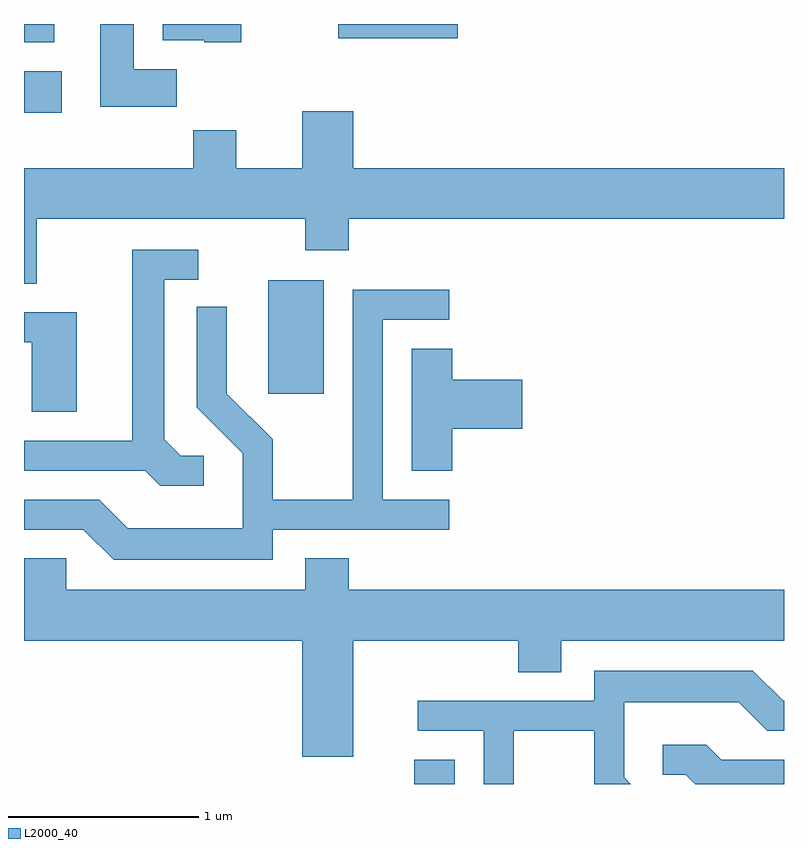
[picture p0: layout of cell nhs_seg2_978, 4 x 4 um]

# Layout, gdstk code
import gdstk
lib = gdstk.Library(unit=1e-6, precision=1e-09)
def R(c, l, rs):  # rectangles x0, y0, x1, y1
    for r in rs: c.add(gdstk.rectangle(r[:2], r[2:], *l))
def P(c, l, *ps):  # polygons
    for p in ps: c.add(gdstk.Polygon(p, *l))
L2000_40 = (2000, 40)

nhs_seg2_978 = lib.new_cell('nhs_seg2_978')
R(nhs_seg2_978, L2000_40, [(215.666,1029.802,215.879,1029.929), (214.896,1031.856,215.189,1032.454), (213.611,1033.336,213.809,1033.554), (213.611,1033.706,213.769,1033.802), (215.266,1033.726,215.894,1033.802)])
P(nhs_seg2_978, L2000_40, [(214.414,1033.564),(214.189,1033.564),(214.189,1033.802),(214.011,1033.802),(214.011,1033.366),(214.414,1033.366)],
  [(214.754,1033.802),(214.341,1033.802),(214.341,1033.716),(214.56,1033.716),(214.56,1033.706),(214.754,1033.706)],
  [(215.076,1033.344),(215.076,1033.044),(214.729,1033.044),(214.729,1033.244),(214.501,1033.244),(214.501,1033.044),(213.611,1033.044),(213.611,1032.436),(213.679,1032.436),(213.679,1032.776),(215.091,1032.776),(215.091,1032.611),(215.319,1032.611),(215.319,1032.776),(217.611,1032.776),(217.611,1033.044),(215.344,1033.044),(215.344,1033.344)],
  [(214.558,1031.529),(214.437,1031.529),(214.349,1031.617),(214.349,1032.456),(214.528,1032.456),(214.528,1032.614),(214.181,1032.614),(214.181,1031.609),(213.611,1031.609),(213.611,1031.451),(214.249,1031.451),(214.329,1031.371),(214.558,1031.371)],
  [(214.919,1031.141),(215.848,1031.141),(215.848,1031.299),(215.499,1031.299),(215.499,1032.246),(215.848,1032.246),(215.848,1032.404),(215.341,1032.404),(215.341,1031.299),(214.919,1031.299),(214.919,1031.617),(214.679,1031.857),(214.679,1032.313),(214.521,1032.313),(214.521,1031.784),(214.761,1031.544),(214.761,1031.149),(214.157,1031.149),(214.007,1031.299),(213.611,1031.299),(213.611,1031.141),(213.924,1031.141),(214.084,1030.981),(214.919,1030.981)],
  [(213.889,1032.284),(213.611,1032.284),(213.611,1032.126),(213.651,1032.126),(213.651,1031.761),(213.889,1031.761)],
  [(215.864,1031.671),(216.234,1031.671),(216.234,1031.929),(215.864,1031.929),(215.864,1032.094),(215.651,1032.094),(215.651,1031.451),(215.864,1031.451)],
  [(215.344,1030.556),(216.211,1030.556),(216.211,1030.391),(216.439,1030.391),(216.439,1030.556),(217.611,1030.556),(217.611,1030.824),(215.319,1030.824),(215.319,1030.989),(215.091,1030.989),(215.091,1030.824),(213.834,1030.824),(213.834,1030.989),(213.611,1030.989),(213.611,1030.556),(215.076,1030.556),(215.076,1029.946),(215.344,1029.946)],
  [(216.189,1030.081),(216.611,1030.081),(216.611,1029.802),(216.804,1029.802),(216.769,1029.837),(216.769,1030.231),(217.374,1030.231),(217.524,1030.081),(217.611,1030.081),(217.611,1030.239),(217.607,1030.239),(217.447,1030.399),(216.611,1030.399),(216.611,1030.239),(215.683,1030.239),(215.683,1030.081),(216.031,1030.081),(216.031,1029.802),(216.189,1029.802)],
  [(217.611,1029.929),(217.282,1029.929),(217.202,1030.009),(216.973,1030.009),(216.973,1029.851),(217.094,1029.851),(217.143,1029.802),(217.611,1029.802)])

lib.write_gds('nhs_seg2_978.gds')
